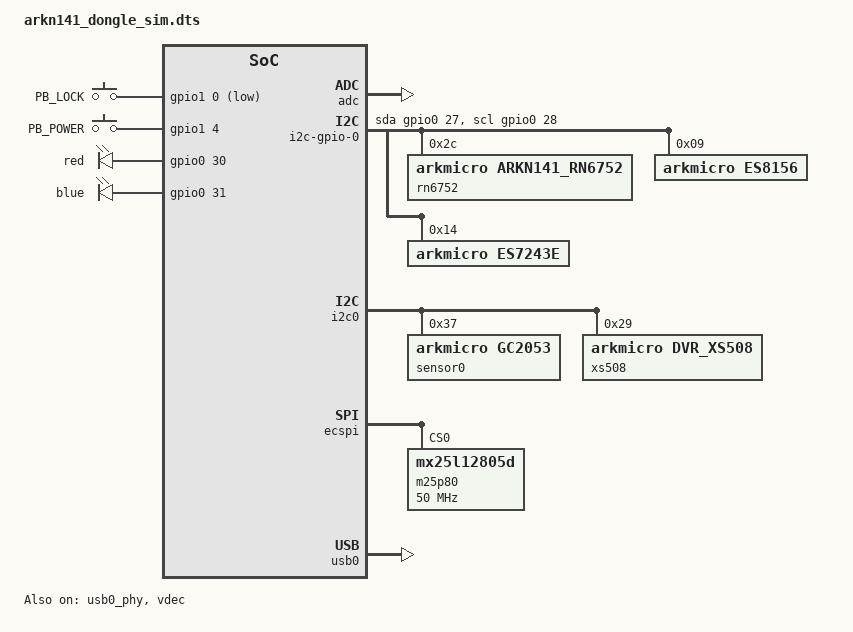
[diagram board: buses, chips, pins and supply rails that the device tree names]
// SPDX-License-Identifier: GPL-2.0
/dts-v1/;
#include "arkn141.dtsi"
#include "arkn141-pinctrl.dtsi"
#include <dt-bindings/gpio/gpio.h>

/ {
	sound {
		//compatible = "arkmicro,arkn141-audio";
		compatible = "simple-audio-card";
		simple-audio-card,format = "i2s";
		simple-audio-card,name = "arkn141-audio";
		#address-cells = <1>;
		#size-cells = <0>;

		simple-audio-card,dai-link@0 {		/* I2S - dac */
			reg = <0>;
			cpu {
				sound-dai = <&i2s_dac>;
			};
			codec {
				sound-dai = <&sddac>;
			};
		};

		simple-audio-card,dai-link@1 {		/* I2S - adc */
			reg = <1>;
			format = "i2s";
			cpu {
				sound-dai = <&i2s_adc>;
			};
			codec {
				sound-dai = <&sdadc>;
			};
		};
	};

	reserved-memory {
		#address-cells = <1>;
		#size-cells = <1>;
		ranges;

		/* global autoconfigured region for contiguous allocations */
		linux,cma {
			compatible = "shared-dma-pool";
			reusable;
			size = <0x3800000>;
			linux,cma-default;
		};
	};

	gpio_keys {
		compatible = "gpio-keys";

		key0 {
			label = "PB_LOCK";
			gpios = <&gpio1 0 GPIO_ACTIVE_LOW>;
			linux,code = <0x100>;
			debounce-interval = <20>;
		};

		key1 {
			label = "PB_POWER";
			gpios = <&gpio1 4 GPIO_ACTIVE_HIGH>;
			linux,code = <0x101>;
			debounce-interval = <20>;
		};
	};

	leds {
		compatible = "gpio-leds";

		led0 {
			label = "red";
			gpios = <&gpio0 30 GPIO_ACTIVE_HIGH>;
		};

		led1 {
			label = "blue";
			gpios = <&gpio0 31 GPIO_ACTIVE_HIGH>;
			linux,default-trigger = "timer";
			default-state = "on";
		};
	};

	adc {
		compatible = "arkmicro,arkn141-adc";
		reg = <0x40403000 0x1000
			0x40408000 0x1000>;
		interrupt-parent = <&intc>;
		interrupts = <0x10>;
	};

	i2c-gpio-0 {
		#address-cells = <1>;
		#size-cells = <0>;
		compatible = "i2c-gpio";
		gpios = <&gpio0 27 0		/* SDA */
			&gpio0 28 0		/* SCL */
		>;
		i2c-gpio,delay-us = <2>;	/* clk freq = 500/delay KHz */
		i2c-gpio,scl-output-only;
		//i2c-gpio,sda-open-drain;
		//i2c-gpio,scl-open-drain;

		rn6752: da380@4e {
			compatible = "arkmicro,arkn141_rn6752";
			//reset-gpio = <&gpio3 11 0>;
			//irq-gpio = <&gpio3 11 0>;
			//pdn-gpio = <&gpio3 11 0>;
			reg = <0x2c>; /* i2c address(7 bits) */
			default-channel = <0>;	/* 0:channel A; 1:channel B */
			camera-format = <3>;	/* 0:unknown; 1:cvbs pal; 2:cvbs ntsc; 3:720p pal; 4:720p ntsc */
			itu601in = <1>;	/* 0:itu656in; 1:itu601in */
		};
		es8156: es8156@9{
			status = "okay";
			compatible = "arkmicro,es8156";
			reg = <0x9>;
		};
		es7243e: es7243e@14{
			status = "okay";
			compatible = "arkmicro,es7243e";
			reg = <0x14>;
		};
	};

	touchscreen {
		compatible = "arkmicro,ark-nop-ts";
	};
};

&i2c0 {
	sensor0: gc2053@37 {
		compatible = "arkmicro,gc2053";
		reg = <0x37>;
		sensor-fps = <30>;
	};

	sensor1: imx322@1a {
		compatible = "arkmicro,imx322";
		reg = <0x1a>;
		sensor-fps = <30>;
		status = "disabled";
	};

	xs508: xs508@29 {
		status = "okay";
		compatible = "arkmicro,dvr_xs508";
		reg = <0x29>;
	};
};

&ecspi {
	m25p80@0 {
		#address-cells = <1>;
		#size-cells = <1>;
		compatible = "mx25l12805d";
		reg = <0>; /* Chip select 0 */
		spi-max-frequency = <50000000>;
	};
};

&lcdc {
	display = <&display0>;
	pinctrl-names = "default";
	pinctrl-0 = <&pinctrl_lcd_base &pinctrl_lcd_itu601out>;

	display0: display@0 {
		interface-type = "SRGB-P";	/* itu601 */
		bits-per-pixel = <32>;
		//power-control-gpio = <&gpio2 17 GPIO_ACTIVE_HIGH>;
		lcd-wiring-mode = "RGB";
		//lcdcon-backlight;
		//pwms = <&pwm0 1 50000>;
		//pwm-names = "backlight";
		//backlight-value = <20>;
		//backlight-delay = <200>;
		clk-freq-autoupdate;	/* Config clock-frequency by dynamic based on lcd resolution */

		display-timings {
			native-mode = <&timing0>;
			timing0: timing0 {
				/* clock-frequency = <68400000>; //1280x720 */
				/* clock-frequency = <42750000>; //1280x480 */
				clock-frequency = <42750000>; //1024x600 
				/* clock-frequency = <28500000>; //800x480 */
				hactive = <1024>;
				vactive = <600>;
				hback-porch = <1>;
				hfront-porch = <1>;
				vback-porch = <1>;
				vfront-porch = <1>;
				hsync-len = <370>;
				vsync-len = <30>;
				hsync-active = <0>;
				vsync-active = <0>;
				de-active = <0>;
				pixelclk-active = <0>;
			};
		};
	};
};

&itu656in {
	channel = <2>;  /* 0:channel A; 1:channel B; 2:channel A and B*/
};

&usb0_phy {
     status = "okay";
};

&usb0 {
	status = "okay";
	gpio-id = <0>;
	gpio-pwr = <0xFFFFFFFF>;
};

&vdec {
	status = "okay";
};

//&mmc1_clk{
//	div-value = <10>;
//};

//&sddac{
//	left-volume = <116>;
//	right-volume = <116>;
//};

//&i2s_adc{
//	left-volume = <2>;
//	right-volume = <2>;
//};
